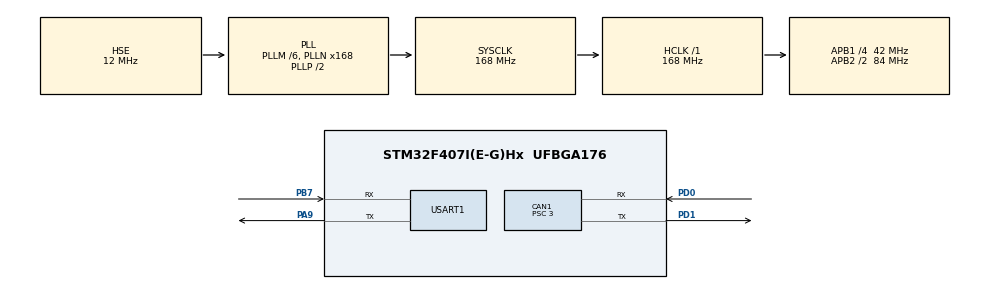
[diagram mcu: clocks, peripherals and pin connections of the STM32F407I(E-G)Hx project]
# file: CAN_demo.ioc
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CAN1.BS1=CAN_BS1_9TQ
CAN1.BS2=CAN_BS2_4TQ
CAN1.CalculateBaudRate=1000000
CAN1.CalculateTimeBit=1000
CAN1.CalculateTimeQuantum=71.42857142857143
CAN1.Prescaler=3
FREERTOS.INCLUDE_vTaskDelayUntil=1
FREERTOS.Tasks01=defaultTask,0,128,StartDefaultTask,Default,NULL,Dynamic,NULL,NULL;myTask02,1,256,Gimbal_task,As weak,NULL,Dynamic,NULL,NULL;myTask03,0,512,print,As weak,NULL,Dynamic,NULL,NULL
FREERTOS.configENABLE_FPU=1
FREERTOS.configUSE_NEWLIB_REENTRANT=1
Mcu.Family=STM32F4
Mcu.Name=STM32F407I(E-G)Hx
Mcu.Package=UFBGA176
NVIC.CAN1_RX0_IRQn=true\:5\:0\:false\:false\:true\:true\:true\:true\:true
NVIC.PriorityGroup=NVIC_PRIORITYGROUP_4
NVIC.TIM1_UP_TIM10_IRQn=true\:15\:0\:false\:false\:true\:false\:false\:true\:true
NVIC.TimeBase=TIM1_UP_TIM10_IRQn
NVIC.TimeBaseIP=TIM10
NVIC.USART1_IRQn=true\:5\:0\:false\:false\:true\:true\:true\:true\:true
PA13.Mode=Serial_Wire
PA13.Signal=SYS_JTMS-SWDIO
PA14.Mode=Serial_Wire
PA14.Signal=SYS_JTCK-SWCLK
PA9.Mode=Asynchronous
PA9.Signal=USART1_TX
PB7.Mode=Asynchronous
PB7.Signal=USART1_RX
PD0.Mode=CAN_Activate
PD0.Signal=CAN1_RX
PD1.Mode=CAN_Activate
PD1.Signal=CAN1_TX
PH0-OSC_IN.Mode=HSE-External-Oscillator
PH0-OSC_IN.Signal=RCC_OSC_IN
PH1-OSC_OUT.Mode=HSE-External-Oscillator
PH1-OSC_OUT.Signal=RCC_OSC_OUT
ProjectManager.HeapSize=0x200
ProjectManager.StackSize=0x400
ProjectManager.TargetToolchain=CMake
RCC.48MHZClocksFreq_Value=84000000
RCC.AHBFreq_Value=168000000
RCC.APB1CLKDivider=RCC_HCLK_DIV4
RCC.APB1Freq_Value=42000000
RCC.APB1TimFreq_Value=84000000
RCC.APB2CLKDivider=RCC_HCLK_DIV2
RCC.APB2Freq_Value=84000000
RCC.APB2TimFreq_Value=168000000
RCC.CortexFreq_Value=168000000
RCC.HCLKFreq_Value=168000000
RCC.HSE_VALUE=12000000
RCC.HSI_VALUE=16000000
RCC.LSE_VALUE=32768
RCC.PLLM=6
RCC.PLLN=168
RCC.PLLSourceVirtual=RCC_PLLSOURCE_HSE
RCC.SYSCLKFreq_VALUE=168000000
RCC.SYSCLKSource=RCC_SYSCLKSOURCE_PLLCLK
RCC.VCOOutputFreq_Value=336000000
USART1.VirtualMode=VM_ASYNC
VP_FREERTOS_VS_CMSIS_V1.Mode=CMSIS_V1
VP_SYS_VS_tim10.Mode=TIM10
board=custom

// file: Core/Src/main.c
/* USER CODE BEGIN Header */
/**
  ******************************************************************************
  * @file           : main.c
  * @brief          : Main program body
  ******************************************************************************
  * @attention
  *
  * Copyright (c) 2026 STMicroelectronics.
  * All rights reserved.
  *
  * This software is licensed under terms that can be found in the LICENSE file
  * in the root directory of this software component.
  * If no LICENSE file comes with this software, it is provided AS-IS.
  *
  ******************************************************************************
  */
/* USER CODE END Header */
#include "main.h"
#include "cmsis_os.h"

/* USER CODE BEGIN Includes */
#include "canio.h"
#include "gimbal.h"
#include "task.h"
#include "vofa.h"
/* USER CODE END Includes */

CAN_HandleTypeDef hcan1;

UART_HandleTypeDef huart1;

osThreadId defaultTaskHandle;
osThreadId myTask02Handle;
osThreadId myTask03Handle;

void SystemClock_Config(void);
static void MX_GPIO_Init(void);
static void MX_CAN1_Init(void);
static void MX_USART1_UART_Init(void);
void StartDefaultTask(void const * argument);
void Gimbal_task(void const * argument);
void print(void const * argument);

int main(void)
{

  /* MCU Configuration--------------------------------------------------------*/

  /* Reset of all peripherals, Initializes the Flash interface and the Systick. */
  HAL_Init();

  /* Configure the system clock */
  SystemClock_Config();

  /* Initialize all configured peripherals */
  MX_GPIO_Init();
  MX_CAN1_Init();
  MX_USART1_UART_Init();
  /* USER CODE BEGIN 2 */

  Gimbal_Init();

  /* 初始化 CAN 通信模块（配置滤波器、启动外设、使能中断） */
  canio_init();

  if (VOFA_Init(&vofa, &huart1) != HAL_OK)
  {
    Error_Handler();
  }

  /* USER CODE END 2 */

  /* Create the thread(s) */
  /* definition and creation of defaultTask */
  osThreadDef(defaultTask, StartDefaultTask, osPriorityNormal, 0, 128);
  defaultTaskHandle = osThreadCreate(osThread(defaultTask), NULL);

  /* definition and creation of myTask02 */
  osThreadDef(myTask02, Gimbal_task, osPriorityAboveNormal, 0, 256);
  myTask02Handle = osThreadCreate(osThread(myTask02), NULL);

  /* definition and creation of myTask03 */
  osThreadDef(myTask03, print, osPriorityNormal, 0, 512);
  myTask03Handle = osThreadCreate(osThread(myTask03), NULL);

  /* Start scheduler */
  osKernelStart();

  /* We should never get here as control is now taken by the scheduler */

  /* Infinite loop */
  while (1)
  {

  }
}

void SystemClock_Config(void)
{
  RCC_OscInitTypeDef RCC_OscInitStruct = {0};
  RCC_ClkInitTypeDef RCC_ClkInitStruct = {0};

  /** Configure the main internal regulator output voltage
  */
  __HAL_RCC_PWR_CLK_ENABLE();
  __HAL_PWR_VOLTAGESCALING_CONFIG(PWR_REGULATOR_VOLTAGE_SCALE1);

  /** Initializes the RCC Oscillators according to the specified parameters
  * in the RCC_OscInitTypeDef structure.
  */
  RCC_OscInitStruct.OscillatorType = RCC_OSCILLATORTYPE_HSE;
  RCC_OscInitStruct.HSEState = RCC_HSE_ON;
  RCC_OscInitStruct.PLL.PLLState = RCC_PLL_ON;
  RCC_OscInitStruct.PLL.PLLSource = RCC_PLLSOURCE_HSE;
  RCC_OscInitStruct.PLL.PLLM = 6;
  RCC_OscInitStruct.PLL.PLLN = 168;
  RCC_OscInitStruct.PLL.PLLP = RCC_PLLP_DIV2;
  RCC_OscInitStruct.PLL.PLLQ = 4;
  if (HAL_RCC_OscConfig(&RCC_OscInitStruct) != HAL_OK)
  {
    Error_Handler();
  }

  /** Initializes the CPU, AHB and APB buses clocks
  */
  RCC_ClkInitStruct.ClockType = RCC_CLOCKTYPE_HCLK|RCC_CLOCKTYPE_SYSCLK
                              |RCC_CLOCKTYPE_PCLK1|RCC_CLOCKTYPE_PCLK2;
  RCC_ClkInitStruct.SYSCLKSource = RCC_SYSCLKSOURCE_PLLCLK;
  RCC_ClkInitStruct.AHBCLKDivider = RCC_SYSCLK_DIV1;
  RCC_ClkInitStruct.APB1CLKDivider = RCC_HCLK_DIV4;
  RCC_ClkInitStruct.APB2CLKDivider = RCC_HCLK_DIV2;

  if (HAL_RCC_ClockConfig(&RCC_ClkInitStruct, FLASH_LATENCY_5) != HAL_OK)
  {
    Error_Handler();
  }
}

static void MX_CAN1_Init(void)
{

  hcan1.Instance = CAN1;
  hcan1.Init.Prescaler = 3;
  hcan1.Init.Mode = CAN_MODE_NORMAL;
  hcan1.Init.SyncJumpWidth = CAN_SJW_1TQ;
  hcan1.Init.TimeSeg1 = CAN_BS1_9TQ;
  hcan1.Init.TimeSeg2 = CAN_BS2_4TQ;
  hcan1.Init.TimeTriggeredMode = DISABLE;
  hcan1.Init.AutoBusOff = DISABLE;
  hcan1.Init.AutoWakeUp = DISABLE;
  hcan1.Init.AutoRetransmission = DISABLE;
  hcan1.Init.ReceiveFifoLocked = DISABLE;
  hcan1.Init.TransmitFifoPriority = DISABLE;
  if (HAL_CAN_Init(&hcan1) != HAL_OK)
  {
    Error_Handler();
  }

}

static void MX_USART1_UART_Init(void)
{

  huart1.Instance = USART1;
  huart1.Init.BaudRate = 115200;
  huart1.Init.WordLength = UART_WORDLENGTH_8B;
  huart1.Init.StopBits = UART_STOPBITS_1;
  huart1.Init.Parity = UART_PARITY_NONE;
  huart1.Init.Mode = UART_MODE_TX_RX;
  huart1.Init.HwFlowCtl = UART_HWCONTROL_NONE;
  huart1.Init.OverSampling = UART_OVERSAMPLING_16;
  if (HAL_UART_Init(&huart1) != HAL_OK)
  {
    Error_Handler();
  }

}

static void MX_GPIO_Init(void)
{

  /* GPIO Ports Clock Enable */
  __HAL_RCC_GPIOA_CLK_ENABLE();
  __HAL_RCC_GPIOB_CLK_ENABLE();
  __HAL_RCC_GPIOD_CLK_ENABLE();
  __HAL_RCC_GPIOH_CLK_ENABLE();

}

void StartDefaultTask(void const * argument)
{
  for(;;)
  {
    osDelay(1);
  }
}

__weak void Gimbal_task(void const * argument)
{
  /* USER CODE BEGIN Gimbal_task */
  TickType_t last_wake_time = xTaskGetTickCount();
  const TickType_t period = pdMS_TO_TICKS(2U);

  for(;;)
  {
    /* Calculate Yaw/Pitch and send one shared 0x1FE frame every 2 ms. */
    (void)Gimbal_Control(HAL_GetTick());
    vTaskDelayUntil(&last_wake_time, period);
  }
  /* USER CODE END Gimbal_task */
}

__weak void print(void const * argument)
{
  /* USER CODE BEGIN print */
  TickType_t last_wake_time = xTaskGetTickCount();
  const TickType_t period = pdMS_TO_TICKS(20U);

  for(;;)
  {
    VOFA_Process(&vofa);
    (void)VOFA_SendTelemetry(&vofa, HAL_GetTick());
    vTaskDelayUntil(&last_wake_time, period);
  }
  /* USER CODE END print */
}

void HAL_TIM_PeriodElapsedCallback(TIM_HandleTypeDef *htim)
{
  if (htim->Instance == TIM10)
  {
    HAL_IncTick();
  }
}

void Error_Handler(void)
{
  __disable_irq();
  while (1)
  {
  }
}
